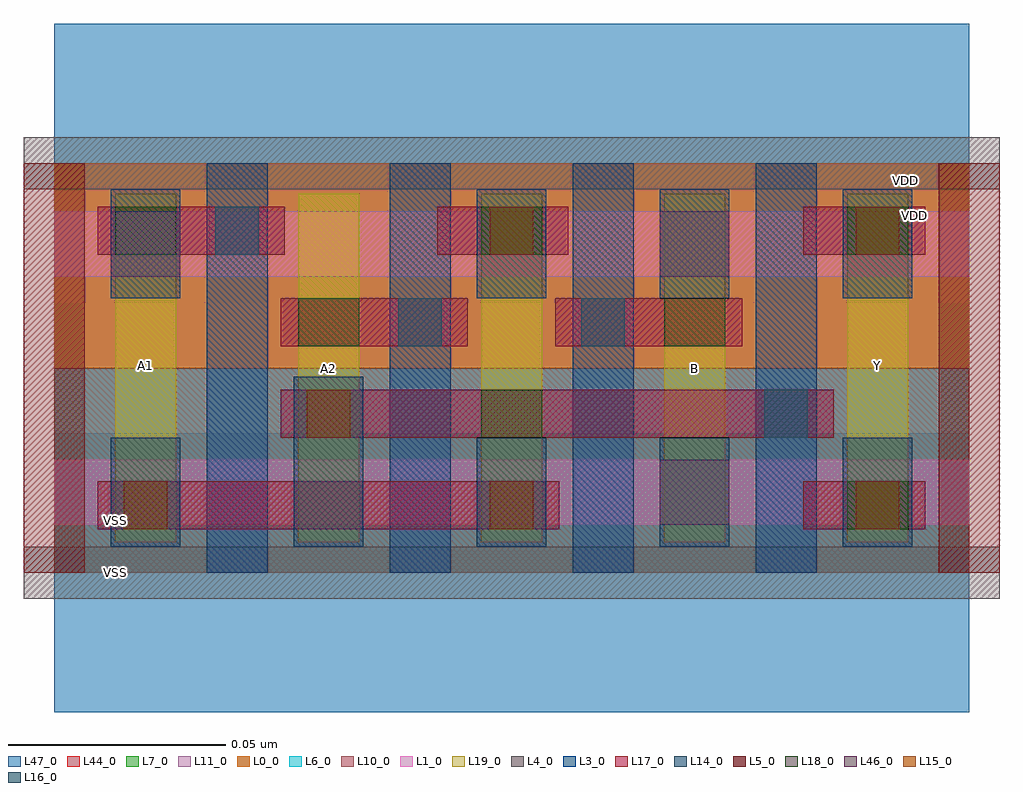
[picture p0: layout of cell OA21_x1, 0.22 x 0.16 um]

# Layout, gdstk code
import gdstk
lib = gdstk.Library(unit=1e-6, precision=5e-10)
def R(c, l, rs):  # rectangles x0, y0, x1, y1
    for r in rs: c.add(gdstk.rectangle(r[:2], r[2:], *l))
def A(c, l, x, y, w, h, nx, ny, dx, dy):  # array of equal rectangles
    R(c, l, [(x+i*dx, y+j*dy, x+i*dx+w, y+j*dy+h) for i in range(nx) for j in range(ny)])
L0_0 = (0, 0)
L1_0 = (1, 0)
L3_0 = (3, 0)
L4_0 = (4, 0)
L5_0 = (5, 0)
L6_0 = (6, 0)
L7_0 = (7, 0)
L10_0 = (10, 0)
L11_0 = (11, 0)
L14_0 = (14, 0)
L15_0 = (15, 0)
L16_0 = (16, 0)
L17_0 = (17, 0)
L18_0 = (18, 0)
L19_0 = (19, 0)
L44_0 = (44, 0)
L46_0 = (46, 0)
L47_0 = (47, 0)

oa21_x1 = lib.new_cell('OA21_x1')
R(oa21_x1, L0_0, [(0,0.047,0.21,0.094)])
R(oa21_x1, L1_0, [(0,0.011,0.21,0.026), (0,0.068,0.21,0.083)])
A(oa21_x1, L3_0, 0.035, 0, 0.014, 0.094, 4, 1, 0.042, 0)
R(oa21_x1, L4_0, [(-0.007,-0.006,0.217,0.006), (-0.007,0.088,0.217,0.1)])
R(oa21_x1, L5_0, [(-0.007,0,0.007,0.094), (0.203,0,0.217,0.094)])
R(oa21_x1, L6_0, [(0,0,0.21,0.047)])
R(oa21_x1, L7_0, [(0,0.047,0.21,0.094)])
R(oa21_x1, L10_0, [(0,0,0.21,0.047)])
R(oa21_x1, L11_0, [(0,0.047,0.21,0.094)])
A(oa21_x1, L14_0, 0.097, 0.006, 0.016, 0.025, 3, 2, 0.042, 0.057)
R(oa21_x1, L14_0, [(0.013,0.006,0.029,0.031), (0.055,0.006,0.071,0.045), (0.013,0.063,0.029,0.088)])
A(oa21_x1, L15_0, 0.016, 0.01, 0.01, 0.011, 3, 1, 0.084, 0)
R(oa21_x1, L15_0, [(0.058,0.031,0.068,0.042), (0.1,0.073,0.11,0.084), (0.184,0.073,0.194,0.084)])
R(oa21_x1, L16_0, [(0.163,0.031,0.173,0.042), (0.079,0.052,0.089,0.063), (0.121,0.052,0.131,0.063), (0.037,0.073,0.047,0.084)])
R(oa21_x1, L17_0, [(0.01,0.01,0.116,0.021), (0.172,0.01,0.2,0.021), (0.052,0.031,0.179,0.042), (0.052,0.052,0.095,0.063), (0.115,0.052,0.158,0.063), (0.01,0.073,0.053,0.084), (0.088,0.073,0.118,0.084), (0.172,0.073,0.2,0.084)])
A(oa21_x1, L18_0, 0.014, 0.073, 0.014, 0.011, 3, 1, 0.084, 0)
R(oa21_x1, L18_0, [(0.182,0.01,0.196,0.021), (0.098,0.031,0.112,0.042), (0.056,0.052,0.07,0.063), (0.14,0.052,0.154,0.063)])
A(oa21_x1, L19_0, 0.014, 0.007, 0.014, 0.08, 5, 1, 0.042, 0)
R(oa21_x1, L44_0, [(0,0,0.21,0.094)])
R(oa21_x1, L46_0, [(0.139,0.011,0.155,0.026), (0.013,0.068,0.029,0.083), (0.139,0.068,0.155,0.083)])
R(oa21_x1, L47_0, [(0,-0.032,0.21,0.032), (0,0.062,0.21,0.126)])
oa21_x1.add(gdstk.Label('Y', (0.189,0.0475), layer=19, texttype=2))
oa21_x1.add(gdstk.Label('A1', (0.021,0.0475), layer=19, texttype=2))
oa21_x1.add(gdstk.Label('A2', (0.063,0.047), layer=19, texttype=2))
oa21_x1.add(gdstk.Label('B', (0.147,0.047), layer=19, texttype=2))
oa21_x1.add(gdstk.Label('VDD', (0.1975,0.082), layer=47, texttype=2))
oa21_x1.add(gdstk.Label('VSS', (0.014,0.012), layer=47, texttype=2))
oa21_x1.add(gdstk.Label('VSS', (0.014,0), layer=54, texttype=2))
oa21_x1.add(gdstk.Label('VDD', (0.1955,0.09), layer=0, texttype=2))

lib.write_gds('OA21_x1.gds')
